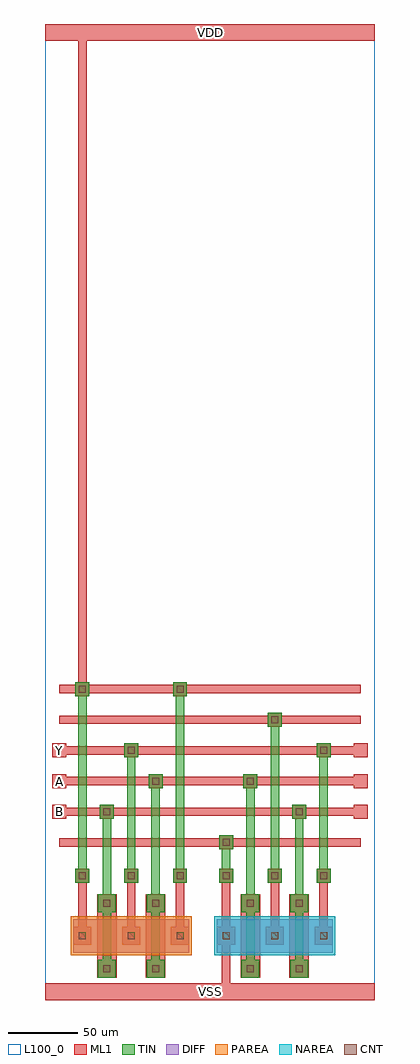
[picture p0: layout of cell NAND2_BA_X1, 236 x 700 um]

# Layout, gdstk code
import gdstk
lib = gdstk.Library(unit=1e-6, precision=1e-09)
def R(c, l, rs):  # rectangles x0, y0, x1, y1
    for r in rs: c.add(gdstk.rectangle(r[:2], r[2:], *l))
def A(c, l, x, y, w, h, nx, ny, dx, dy):  # array of equal rectangles
    R(c, l, [(x+i*dx, y+j*dy, x+i*dx+w, y+j*dy+h) for i in range(nx) for j in range(ny)])
DIFF = (3, 0)
TIN = (5, 0)
CNT = (7, 0)
ML1 = (8, 0)
PAREA = (18, 0)
NAREA = (19, 0)
L100_0 = (100, 0)

nand2_ba_x1 = lib.new_cell('NAND2_BA_X1')
R(nand2_ba_x1, DIFF, [(20,34,103,58), (123,34,206,58)])
A(nand2_ba_x1, TIN, 21.5, 84, 10, 10, 3, 1, 35, 0)
A(nand2_ba_x1, TIN, 124.5, 84, 10, 10, 3, 1, 35, 0)
R(nand2_ba_x1, TIN, [(37.5,16,50.5,29), (72.5,16,85.5,29), (140.5,16,153.5,29), (175.5,16,188.5,29), (41,28,47,65.5), (76,28,82,65.5), (144,28,150,65.5), (179,28,185,65.5), (37.5,63,50.5,76), (72.5,63,85.5,76), (140.5,63,153.5,76), (175.5,63,188.5,76), (41,69.5,47,135), (76,69.5,82,157), (144,69.5,150,157), (179,69.5,185,135), (23.5,89,29.5,223), (58.5,89,64.5,179), (93.5,89,99.5,223), (126.5,89,132.5,113), (161.5,89,167.5,201), (196.5,89,202.5,179), (124.5,108,134.5,118), (39,130,49,140), (177,130,187,140), (74,152,84,162), (142,152,152,162), (56.5,174,66.5,184), (194.5,174,204.5,184), (159.5,196,169.5,206), (21.5,218,31.5,228), (91.5,218,101.5,228)])
A(nand2_ba_x1, CNT, 24, 43.5, 5, 5, 3, 2, 35, 43)
A(nand2_ba_x1, CNT, 127, 43.5, 5, 5, 3, 2, 35, 43)
R(nand2_ba_x1, CNT, [(41.5,20,46.5,25), (76.5,20,81.5,25), (144.5,20,149.5,25), (179.5,20,184.5,25), (41.5,67,46.5,72), (76.5,67,81.5,72), (144.5,67,149.5,72), (179.5,67,184.5,72), (127,110.5,132,115.5), (41.5,132.5,46.5,137.5), (179.5,132.5,184.5,137.5), (76.5,154.5,81.5,159.5), (144.5,154.5,149.5,159.5), (59,176.5,64,181.5), (197,176.5,202,181.5), (162,198.5,167,203.5), (24,220.5,29,225.5), (94,220.5,99,225.5)])
A(nand2_ba_x1, ML1, 20, 39.5, 13, 13, 3, 1, 35, 0)
A(nand2_ba_x1, ML1, 123, 39.5, 13, 13, 3, 1, 35, 0)
A(nand2_ba_x1, ML1, 23.5, 46, 6, 43, 3, 1, 35, 0)
A(nand2_ba_x1, ML1, 126.5, 46, 6, 43, 3, 1, 35, 0)
A(nand2_ba_x1, ML1, 21.5, 84, 10, 10, 3, 1, 35, 0)
A(nand2_ba_x1, ML1, 124.5, 84, 10, 10, 3, 1, 35, 0)
A(nand2_ba_x1, ML1, 10, 110, 216, 6, 1, 6, 0, 22)
A(nand2_ba_x1, ML1, 5, 130, 10, 10, 1, 3, 0, 22)
A(nand2_ba_x1, ML1, 221, 130, 10, 10, 1, 3, 0, 22)
R(nand2_ba_x1, ML1, [(0,0,236,12), (126.5,3,132.5,92), (37,16,51,76), (37.5,16,50.5,29), (72,16,86,76), (72.5,16,85.5,29), (140,16,154,76), (140.5,16,153.5,29), (175,16,189,76), (175.5,16,188.5,29), (37.5,63,50.5,76), (72.5,63,85.5,76), (140.5,63,153.5,76), (175.5,63,188.5,76), (124.5,108,134.5,118), (39,130,49,140), (177,130,187,140), (74,152,84,162), (142,152,152,162), (56.5,174,66.5,184), (194.5,174,204.5,184), (159.5,196,169.5,206), (21.5,218,31.5,228), (91.5,218,101.5,228), (23.5,220,29.5,697), (0,688,236,700)])
R(nand2_ba_x1, PAREA, [(18,32,105,60)])
R(nand2_ba_x1, NAREA, [(121,32,208,60)])
R(nand2_ba_x1, L100_0, [(0,0,236,700)])
nand2_ba_x1.add(gdstk.Label('B', (10,135), layer=13, texttype=0))
nand2_ba_x1.add(gdstk.Label('A', (10,157), layer=13, texttype=0))
nand2_ba_x1.add(gdstk.Label('Y', (10,179), layer=13, texttype=0))
nand2_ba_x1.add(gdstk.Label('VDD', (118,694), layer=13, texttype=0))
nand2_ba_x1.add(gdstk.Label('VSS', (118,6), layer=13, texttype=0))

lib.write_gds('NAND2_BA_X1.gds')
